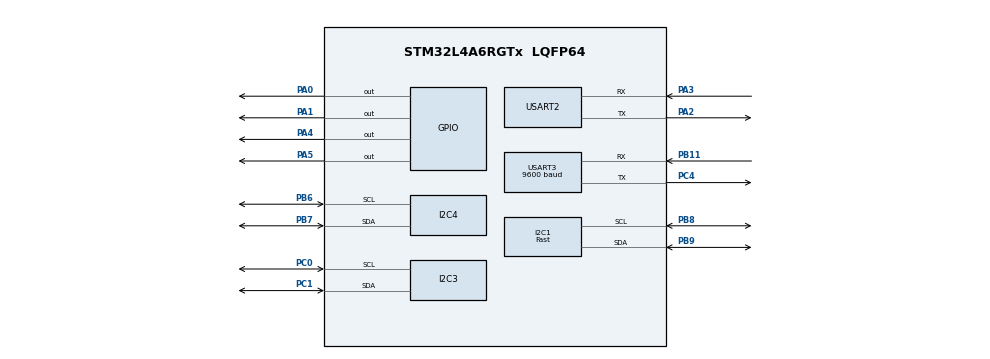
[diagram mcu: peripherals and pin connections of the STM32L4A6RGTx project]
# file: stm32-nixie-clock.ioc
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I2C1.I2C_Speed_Mode=I2C_Fast
I2C1.Timing=0x00000003
I2C3.Timing=0x00100D14
I2C4.Timing=0x00100D14
Mcu.Family=STM32L4
Mcu.Name=STM32L4A6RGTx
Mcu.Package=LQFP64
NVIC.PriorityGroup=NVIC_PRIORITYGROUP_4
NVIC.USART3_IRQn=true\:0\:0\:false\:false\:true\:true\:true\:true
PA0.Signal=GPIO_Output
PA1.Signal=GPIO_Output
PA2.Mode=Asynchronous
PA2.Signal=USART2_TX
PA3.Mode=Asynchronous
PA3.Signal=USART2_RX
PA4.Signal=GPIO_Output
PA5.Signal=GPIO_Output
PB11.Mode=Asynchronous
PB11.Signal=USART3_RX
PB6.Mode=I2C
PB6.Signal=I2C4_SCL
PB7.Mode=I2C
PB7.Signal=I2C4_SDA
PB8.Mode=I2C
PB8.Signal=I2C1_SCL
PB9.Mode=I2C
PB9.Signal=I2C1_SDA
PC0.Mode=I2C
PC0.Signal=I2C3_SCL
PC1.Mode=I2C
PC1.Signal=I2C3_SDA
PC4.Mode=Asynchronous
PC4.Signal=USART3_TX
ProjectManager.HeapSize=0x200
ProjectManager.StackSize=0x400
ProjectManager.TargetToolchain=STM32CubeIDE
RCC.HSE_VALUE=8000000
RCC.HSI48_VALUE=48000000
RCC.HSI_VALUE=16000000
RCC.LSE_VALUE=32768
RCC.MSI_VALUE=4000000
RCC.VCOOutputFreq_Value=32000000
USART2.VirtualMode-Asynchronous=VM_ASYNC
USART3.BaudRate=9600
USART3.VirtualMode-Asynchronous=VM_ASYNC
board=custom

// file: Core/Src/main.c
/* USER CODE BEGIN Header */
/**
  ******************************************************************************
  * @file           : main.c
  * @brief          : Main program body
  ******************************************************************************
  * @attention
  *
  * Copyright (c) 2025 STMicroelectronics.
  * All rights reserved.
  *
  * This software is licensed under terms that can be found in the LICENSE file
  * in the root directory of this software component.
  * If no LICENSE file comes with this software, it is provided AS-IS.
  *
  ******************************************************************************
  */
/* USER CODE END Header */
#include "main.h"

/* USER CODE BEGIN Includes */
#include <string.h>
#include <stdlib.h>
#include <stdbool.h>
#include "math.h"
#include <stdio.h>
#include "lookup_table.h"
#include "ds3231_for_stm32_hal.h"
#include "ssd1306_fonts.h"

/* USER CODE END Includes */

/* USER CODE BEGIN PD */
#define SSD1306_INCLUDE_FONT_7x10
#define SSD1306_INCLUDE_FONT_16x26
#define D6T_ADDR 0x0A  // for I2C 7bit address
#define D6T_CMD 0x4C  // for D6T-44L-06/06H, D6T-8L-09/09H, for D6T-1A-01/02
#define N_ROW 1
#define N_PIXEL 1
#define N_READ ((N_PIXEL + 1) * 2 + 1)

#define D6T_I2C_ADDR     (0x0A << 1)   // HAL expects 8-bit address
#define D6T_READ_LEN     5
#define D6T_CMD          0x4C
/* USER CODE END PD */

I2C_HandleTypeDef hi2c1;
I2C_HandleTypeDef hi2c3;
I2C_HandleTypeDef hi2c4;

UART_HandleTypeDef huart2;
UART_HandleTypeDef huart3;

/* USER CODE BEGIN PV */
char rx_data[2048];
/* USER CODE END PV */

void SystemClock_Config(void);
static void MX_GPIO_Init(void);
static void MX_USART2_UART_Init(void);
static void MX_I2C1_Init(void);
static void MX_I2C3_Init(void);
static void MX_I2C4_Init(void);
static void MX_USART3_UART_Init(void);

/* USER CODE BEGIN 0 */

const size_t lookup_table_length = sizeof(lookup_table) / sizeof(lookup_table[0]);

#define DEG_TO_RAD(deg) ((deg) * M_PI / 180.0)
#define EARTH_RADIUS_KM 6371.0

float haversine(float lat1, float lon1, float lat2, float lon2) {
    float dlat = DEG_TO_RAD(lat2 - lat1);
    float dlon = DEG_TO_RAD(lon2 - lon1);
    float a = sinf(dlat / 2) * sinf(dlat / 2) +
              cosf(DEG_TO_RAD(lat1)) * cosf(DEG_TO_RAD(lat2)) *
              sinf(dlon / 2) * sinf(dlon / 2);
    float c = 2 * atan2f(sqrtf(a), sqrtf(1 - a));
    return EARTH_RADIUS_KM * c;
}

const CsvRow* find_closest_entry(float my_lat, float my_lon) {
    const CsvRow* best = NULL;
    float min_distance = 1e9f;  // big initial value

    for (size_t i = 0; i < lookup_table_length; i++) {
        float d = haversine(my_lat, my_lon, lookup_table[i].Latitude, lookup_table[i].Longitude);
        if (d < min_distance) {
            min_distance = d;
            best = &lookup_table[i];
        }
    }

    return best;
}

int16_t conv8us_s16_le(uint8_t* buf, int n) {
    uint16_t ret;
    ret = (uint16_t)buf[n];
    ret += ((uint16_t)buf[n + 1]) << 8;
    return (int16_t)ret;   // and convert negative.
}

int day_of_year(int year, int month, int day) {
    static const int days_before_month[] = {
        0, 31, 59, 90, 120, 151, 181,
        212, 243, 273, 304, 334
    };
    int doy = days_before_month[month - 1] + day;

    // Leap year correction
    if (month > 2 &&
        ((year % 4 == 0 && year % 100 != 0) || year % 400 == 0)) {
        doy += 1;
    }

    return doy;
}

static bool already_read_gps = false;

uint8_t pin_values[4];
uint8_t pin_numbers[4] = {0, 1, 4, 5};
 int time_h_m[4];
 int count_numbers, count_bits;
 int delay_time;
//#define GPIO_PINS (GPIO_PIN_0 | GPIO_PIN_1 | GPIO_PIN_2 | GPIO_PIN_7)

/* USER CODE END 0 */

int main(void)
{

  /* USER CODE BEGIN 1 */
    uint8_t d6t_addr = 0x0A << 1;  // 7-bit address shifted for STM32 HAL
    uint8_t cmd = 0x4C;
    uint8_t rx_buf[5];  // 1 status + 2 bytes for 1 temperature + 2 CRC
  /* USER CODE END 1 */

  /* MCU Configuration--------------------------------------------------------*/

  /* Reset of all peripherals, Initializes the Flash interface and the Systick. */
  HAL_Init();

  /* Configure the system clock */
  SystemClock_Config();

  /* Initialize all configured peripherals */
  MX_GPIO_Init();
  MX_USART2_UART_Init();
  MX_I2C1_Init();
  MX_I2C3_Init();
  MX_I2C4_Init();
  MX_USART3_UART_Init();
  /* USER CODE BEGIN 2 */
  int time_h_m[4];
  ssd1306_Init();
  DS3231_Init(&hi2c3);
  /* USER CODE END 2 */

  /* Infinite loop */
  while (1)
  {

    /* USER CODE BEGIN 3 */

		void control_pins(uint8_t pin_values[4], uint8_t pin_numbers[4])
		{
			  //HAL_GPIO_WritePin(GPIOA, GPIO_PIN_0|GPIO_PIN_1|GPIO_PIN_2|GPIO_PIN_7, GPIO_PIN_RESET);

		    // Iterate through the pin values vector
		    for (int i = 0; i < 4; i++) {
		        if (pin_values[i] > 0) {
		            // Set pin high (raise)
		            HAL_GPIO_WritePin(GPIOA, (int)(pow(2, pin_numbers[i])), GPIO_PIN_SET);  // Map index to GPIO pin
		        } else {
		            // Set pin low (lower)
		            HAL_GPIO_WritePin(GPIOA, (int)(pow(2, pin_numbers[i])), GPIO_PIN_RESET);  // Map index to GPIO pin
		        }
		    }
		}

	  HAL_UART_Receive_IT(&huart3, rx_data, sizeof(rx_data));

	  if (HAL_I2C_Master_Transmit(&hi2c1, d6t_addr, &cmd, 1, HAL_MAX_DELAY) != HAL_OK)
	      {
	          printf("Transmit failed!\r\n");
	          HAL_Delay(1000);
	          continue;
	      } else {
	    	  printf("Transmit OK!!!!\r\n");
	      }

	    uint8_t rawData[5] = {0};
	    uint8_t command = D6T_CMD;

	    HAL_Delay(500);

	    if (HAL_I2C_Master_Receive(&hi2c1, d6t_addr, rawData, 5, HAL_MAX_DELAY) != HAL_OK) {
	        printf("I2C READ FAILED\r\n");
	    }

	    int16_t temp_pixel = (int16_t)(rawData[3] << 8 | rawData[2]);
	    float temperature = temp_pixel / 10.0f;

	    printf("Raw Pixel Temp: %d (%d C)\r\n", (int)temp_pixel, (int)temperature);

	    HAL_Delay(500);

	  uint8_t hour = DS3231_GetHour();
	  uint8_t minute = DS3231_GetMinute();

	  time_h_m[1] = hour % 10;
	  time_h_m[0] = (int)(hour / 10);

	  time_h_m[3] = minute % 10;
	  time_h_m[2] = (int)(minute / 10);

	  for (count_numbers = 0; count_numbers < 4; count_numbers++) {

		  HAL_GPIO_WritePin(GPIOA, GPIO_PIN_0|GPIO_PIN_1|GPIO_PIN_2|GPIO_PIN_6|GPIO_PIN_3|GPIO_PIN_4|GPIO_PIN_5|GPIO_PIN_7, GPIO_PIN_SET);

		  switch (count_numbers)  {
					case 0:
						delay_time = 1500;
						break;
					case 1:
					case 3:
						delay_time = 125;
						break;
					case 2:
						delay_time = 500;
		  }

		  HAL_Delay(delay_time);

		  for (count_bits = 0; count_bits < 4; count_bits++) {
			  pin_values[count_bits] = time_h_m[count_numbers] & (int)pow(2, count_bits);
		  }

		  control_pins(pin_values, pin_numbers);

		  HAL_Delay(500);

	  }

	  char time_str[24];
	  snprintf(time_str, sizeof(time_str), "%02d:%02d UTC - %d oC", hour, minute, (int)temperature);
	  printf("\r\n\n");
	  printf(time_str);
	  printf("\r\n\n");

	  ssd1306_Fill(Black);
	  ssd1306_SetCursor(0, 0);
	  ssd1306_WriteString(time_str, Font_7x10, White);
	  // ssd1306_Fill(1);
	  ssd1306_UpdateScreen();

  }
  /* USER CODE END 3 */
}

void SystemClock_Config(void)
{
  RCC_OscInitTypeDef RCC_OscInitStruct = {0};
  RCC_ClkInitTypeDef RCC_ClkInitStruct = {0};

  /** Configure the main internal regulator output voltage
  */
  if (HAL_PWREx_ControlVoltageScaling(PWR_REGULATOR_VOLTAGE_SCALE1) != HAL_OK)
  {
    Error_Handler();
  }

  /** Initializes the RCC Oscillators according to the specified parameters
  * in the RCC_OscInitTypeDef structure.
  */
  RCC_OscInitStruct.OscillatorType = RCC_OSCILLATORTYPE_MSI;
  RCC_OscInitStruct.MSIState = RCC_MSI_ON;
  RCC_OscInitStruct.MSICalibrationValue = 0;
  RCC_OscInitStruct.MSIClockRange = RCC_MSIRANGE_6;
  RCC_OscInitStruct.PLL.PLLState = RCC_PLL_NONE;
  if (HAL_RCC_OscConfig(&RCC_OscInitStruct) != HAL_OK)
  {
    Error_Handler();
  }

  /** Initializes the CPU, AHB and APB buses clocks
  */
  RCC_ClkInitStruct.ClockType = RCC_CLOCKTYPE_HCLK|RCC_CLOCKTYPE_SYSCLK
                              |RCC_CLOCKTYPE_PCLK1|RCC_CLOCKTYPE_PCLK2;
  RCC_ClkInitStruct.SYSCLKSource = RCC_SYSCLKSOURCE_MSI;
  RCC_ClkInitStruct.AHBCLKDivider = RCC_SYSCLK_DIV1;
  RCC_ClkInitStruct.APB1CLKDivider = RCC_HCLK_DIV1;
  RCC_ClkInitStruct.APB2CLKDivider = RCC_HCLK_DIV1;

  if (HAL_RCC_ClockConfig(&RCC_ClkInitStruct, FLASH_LATENCY_0) != HAL_OK)
  {
    Error_Handler();
  }
}

static void MX_I2C1_Init(void)
{

  hi2c1.Instance = I2C1;
  hi2c1.Init.Timing = 0x00000003;
  hi2c1.Init.OwnAddress1 = 0;
  hi2c1.Init.AddressingMode = I2C_ADDRESSINGMODE_7BIT;
  hi2c1.Init.DualAddressMode = I2C_DUALADDRESS_DISABLE;
  hi2c1.Init.OwnAddress2 = 0;
  hi2c1.Init.OwnAddress2Masks = I2C_OA2_NOMASK;
  hi2c1.Init.GeneralCallMode = I2C_GENERALCALL_DISABLE;
  hi2c1.Init.NoStretchMode = I2C_NOSTRETCH_DISABLE;
  if (HAL_I2C_Init(&hi2c1) != HAL_OK)
  {
    Error_Handler();
  }

  /** Configure Analogue filter
  */
  if (HAL_I2CEx_ConfigAnalogFilter(&hi2c1, I2C_ANALOGFILTER_ENABLE) != HAL_OK)
  {
    Error_Handler();
  }

  /** Configure Digital filter
  */
  if (HAL_I2CEx_ConfigDigitalFilter(&hi2c1, 0) != HAL_OK)
  {
    Error_Handler();
  }

}

static void MX_I2C3_Init(void)
{

  hi2c3.Instance = I2C3;
  hi2c3.Init.Timing = 0x00100D14;
  hi2c3.Init.OwnAddress1 = 0;
  hi2c3.Init.AddressingMode = I2C_ADDRESSINGMODE_7BIT;
  hi2c3.Init.DualAddressMode = I2C_DUALADDRESS_DISABLE;
  hi2c3.Init.OwnAddress2 = 0;
  hi2c3.Init.OwnAddress2Masks = I2C_OA2_NOMASK;
  hi2c3.Init.GeneralCallMode = I2C_GENERALCALL_DISABLE;
  hi2c3.Init.NoStretchMode = I2C_NOSTRETCH_DISABLE;
  if (HAL_I2C_Init(&hi2c3) != HAL_OK)
  {
    Error_Handler();
  }

  /** Configure Analogue filter
  */
  if (HAL_I2CEx_ConfigAnalogFilter(&hi2c3, I2C_ANALOGFILTER_ENABLE) != HAL_OK)
  {
    Error_Handler();
  }

  /** Configure Digital filter
  */
  if (HAL_I2CEx_ConfigDigitalFilter(&hi2c3, 0) != HAL_OK)
  {
    Error_Handler();
  }

}

static void MX_I2C4_Init(void)
{

  hi2c4.Instance = I2C4;
  hi2c4.Init.Timing = 0x00100D14;
  hi2c4.Init.OwnAddress1 = 0;
  hi2c4.Init.AddressingMode = I2C_ADDRESSINGMODE_7BIT;
  hi2c4.Init.DualAddressMode = I2C_DUALADDRESS_DISABLE;
  hi2c4.Init.OwnAddress2 = 0;
  hi2c4.Init.OwnAddress2Masks = I2C_OA2_NOMASK;
  hi2c4.Init.GeneralCallMode = I2C_GENERALCALL_DISABLE;
  hi2c4.Init.NoStretchMode = I2C_NOSTRETCH_DISABLE;
  if (HAL_I2C_Init(&hi2c4) != HAL_OK)
  {
    Error_Handler();
  }

  /** Configure Analogue filter
  */
  if (HAL_I2CEx_ConfigAnalogFilter(&hi2c4, I2C_ANALOGFILTER_ENABLE) != HAL_OK)
  {
    Error_Handler();
  }

  /** Configure Digital filter
  */
  if (HAL_I2CEx_ConfigDigitalFilter(&hi2c4, 0) != HAL_OK)
  {
    Error_Handler();
  }

}

static void MX_USART2_UART_Init(void)
{

  huart2.Instance = USART2;
  huart2.Init.BaudRate = 115200;
  huart2.Init.WordLength = UART_WORDLENGTH_8B;
  huart2.Init.StopBits = UART_STOPBITS_1;
  huart2.Init.Parity = UART_PARITY_NONE;
  huart2.Init.Mode = UART_MODE_TX_RX;
  huart2.Init.HwFlowCtl = UART_HWCONTROL_NONE;
  huart2.Init.OverSampling = UART_OVERSAMPLING_16;
  huart2.Init.OneBitSampling = UART_ONE_BIT_SAMPLE_DISABLE;
  huart2.AdvancedInit.AdvFeatureInit = UART_ADVFEATURE_NO_INIT;
  if (HAL_UART_Init(&huart2) != HAL_OK)
  {
    Error_Handler();
  }

}

static void MX_USART3_UART_Init(void)
{

  huart3.Instance = USART3;
  huart3.Init.BaudRate = 9600;
  huart3.Init.WordLength = UART_WORDLENGTH_8B;
  huart3.Init.StopBits = UART_STOPBITS_1;
  huart3.Init.Parity = UART_PARITY_NONE;
  huart3.Init.Mode = UART_MODE_TX_RX;
  huart3.Init.HwFlowCtl = UART_HWCONTROL_NONE;
  huart3.Init.OverSampling = UART_OVERSAMPLING_16;
  huart3.Init.OneBitSampling = UART_ONE_BIT_SAMPLE_DISABLE;
  huart3.AdvancedInit.AdvFeatureInit = UART_ADVFEATURE_NO_INIT;
  if (HAL_UART_Init(&huart3) != HAL_OK)
  {
    Error_Handler();
  }

}

static void MX_GPIO_Init(void)
{
  GPIO_InitTypeDef GPIO_InitStruct = {0};

  /* GPIO Ports Clock Enable */
  __HAL_RCC_GPIOC_CLK_ENABLE();
  __HAL_RCC_GPIOA_CLK_ENABLE();
  __HAL_RCC_GPIOB_CLK_ENABLE();

  /*Configure GPIO pin Output Level */
  HAL_GPIO_WritePin(GPIOA, GPIO_PIN_0|GPIO_PIN_1|GPIO_PIN_4|GPIO_PIN_5, GPIO_PIN_RESET);

  /*Configure GPIO pins : PA0 PA1 PA4 PA5 */
  GPIO_InitStruct.Pin = GPIO_PIN_0|GPIO_PIN_1|GPIO_PIN_4|GPIO_PIN_5;
  GPIO_InitStruct.Mode = GPIO_MODE_OUTPUT_PP;
  GPIO_InitStruct.Pull = GPIO_NOPULL;
  GPIO_InitStruct.Speed = GPIO_SPEED_FREQ_LOW;
  HAL_GPIO_Init(GPIOA, &GPIO_InitStruct);

}

/* USER CODE BEGIN 4 */
int _write(int file, char *ptr, int len)
{
    HAL_UART_Transmit(&huart2, (uint8_t*)ptr, len, HAL_MAX_DELAY);
    return len;
}

bool validate_nmea_checksum(const char* sentence) {
    if (sentence[0] != '$') return false;

    const char* checksum_str = strstr(sentence, "*");
    int sizestr = strlen(checksum_str);
    if (!checksum_str || strlen(checksum_str) < 3) return false;

    uint8_t checksum = 0;
    for (const char* p = sentence; *p != '*' && *p != '\0'; p++) {
        checksum ^= *p;
    }

    uint8_t received;
    sscanf(checksum_str + 1, "%2hhX", &received);
    return checksum == received;
}

void HAL_UART_RxCpltCallback(UART_HandleTypeDef *huart)
{
	/* Prevent unused argument(s) compilation warning */
	UNUSED(huart);

	if (!already_read_gps)
	{

		  // String to be analysed starts with $
		  char* substr = strstr(rx_data, "$GNRMC");
		  if (substr == NULL) return;

		  // and ends after the checksum
		  char* substr2 = strstr(substr, "\*");
		  if (substr2 == NULL || substr2[1] == '\0' || substr2[2] == '\0') return;
		  substr2[3] = '\0';

		  if (!validate_nmea_checksum(substr)) return;

		  // Parse GPS message
		  char** parsed_gps = parse_csv(substr);

		  // Returns if GPS data in invalid
		  if (parsed_gps[2][0] == 'V') return;

		  ssd1306_SetCursor(0,18);
		  ssd1306_WriteString("Valid GPS message!", Font_7x10, White);
		  ssd1306_UpdateScreen();

		  // Longitude extraction
		  double lon= atof(parsed_gps[5]);
		  int londeg = (int)(lon / 100);
		  double lonmin = lon - londeg * 100;
		  lon = londeg + lonmin / 60.0;
		  if (parsed_gps[6][0] == 'W') lon = -lon;
		  else if (parsed_gps[6][0] != 'E') return;

		  // Latitude extraction
		  double lat = atof(parsed_gps[3]);
		  int latdeg =  (int)(lat / 100);
		  double latmin = lat - latdeg * 100;
		  lat = latdeg + latmin / 60.0;
		  if (parsed_gps[4][0] == 'S') lat = -lat;
		  else if (parsed_gps[4][0] != 'N') return;

		  const CsvRow* nearest = find_closest_entry(lat, lon);

		  // Get UTC time from GPS (parsed_gps[1] format is "hhmmss.sss")
		  char* utc_str = parsed_gps[1];
		  int gps_hour = (utc_str[0] - '0') * 10 + (utc_str[1] - '0');
		  int gps_min = (utc_str[2] - '0') * 10 + (utc_str[3] - '0');
		  int gps_sec = (utc_str[4] - '0') * 10 + (utc_str[5] - '0');

		  // Get date from GPS (parsed_gps[9] format is "ddmmyy")
		  char* date_str = parsed_gps[9];
		  int gps_day = (date_str[0] - '0') * 10 + (date_str[1] - '0');
		  int gps_month = (date_str[2] - '0') * 10 + (date_str[3] - '0');
		  int gps_year = 2000 + (date_str[4] - '0') * 10 + (date_str[5] - '0');

		  // Build date string for DST comparison
		  char today[11];
		  snprintf(today, sizeof(today), "%04d-%02d-%02d", gps_year, gps_month, gps_day);

		  bool DST = false;

		  // Determine if DST applies
		  int doy = day_of_year(gps_year, gps_month, gps_day);
		  float local_offset = nearest->UTC_Offset;
		  if (nearest->DST_Start_DOY > 0 &&
			  doy >= nearest->DST_Start_DOY &&
			  doy <= nearest->DST_End_DOY) {
			  local_offset += 1.0f;
			  DST = true;
		  }

		  // Apply local offset
		  int corrected_hour = gps_hour + (int)local_offset;
		  if (corrected_hour >= 24) corrected_hour -= 24;
		  if (corrected_hour < 0) corrected_hour += 24;

		  char time_str[24];
		  char offset[4];
		  if (fabs(local_offset - (int)local_offset) > 0.00000001) snprintf(offset, sizeof(offset), "%.1f", local_offset);
		  else snprintf(offset, sizeof(offset), "%d", (int)local_offset);
		  snprintf(time_str, sizeof(time_str), "%02d:%02d UTC%s%s", corrected_hour, gps_min, (lon >= 0.0) ? "+" : "-", offset);
		  if (DST) snprintf(time_str, sizeof(time_str), "%s \(DST\)", time_str);
		  ssd1306_Fill(Black);
		  ssd1306_SetCursor(0, 0);
		  ssd1306_WriteString("Data from the GPS:", Font_7x10, White);
		  ssd1306_SetCursor(0, 11);
		  ssd1306_WriteString(time_str, Font_7x10, White);
		  ssd1306_SetCursor(0, 22);
		  ssd1306_WriteString("Saving to the RTC.", Font_7x10, White);
		  ssd1306_UpdateScreen();

		  //HAL_Delay(1);

		  // Update DS3231 with corrected time
		  DS3231_SetFullTime(corrected_hour, gps_min, gps_sec);
		  DS3231_SetFullDate(gps_day, gps_month, 1, gps_year); // 1 = Monday placeholder

		  ssd1306_Fill(Black);
		  ssd1306_SetCursor(25,4);
		  ssd1306_WriteString("Time saved.", Font_7x10, White);
		  ssd1306_SetCursor(25,18);
		  ssd1306_WriteString("RTC in use!", Font_7x10, White);
		  ssd1306_UpdateScreen();

		  //HAL_Delay(1000);
		  //int b = 1;
		  //for (int a = 0; a < 50000000; a++) b++;

		  //delay_us(10);

		  //ssd1306_Fill(Black);
		  //ssd1306_UpdateScreen();

		  already_read_gps = true;
	}

}
/* USER CODE END 4 */

void Error_Handler(void)
{
  __disable_irq();
  while (1)
  {
  }
}
